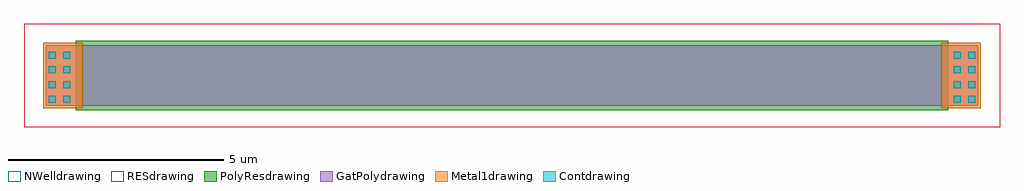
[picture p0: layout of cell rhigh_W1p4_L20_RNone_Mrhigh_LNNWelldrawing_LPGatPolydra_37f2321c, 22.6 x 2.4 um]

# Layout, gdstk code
import gdstk
lib = gdstk.Library(unit=1e-6, precision=1e-09)
def R(c, l, rs):  # rectangles x0, y0, x1, y1
    for r in rs: c.add(gdstk.rectangle(r[:2], r[2:], *l))
GatPolydrawing = (5, 0)
Contdrawing = (6, 0)
Metal1drawing = (8, 0)
RESdrawing = (24, 0)
NWelldrawing = (31, 0)
PolyResdrawing = (128, 0)

rectangle_gdsfactorypcom = lib.new_cell('rectangle_gdsfactorypcomponentspshapesprectangle_S22p6__df2f1203')
R(rectangle_gdsfactorypcom, NWelldrawing, [(-11.3,-1.2,11.3,1.2)])

c_rectangle_gdsfactorypcom = lib.new_cell('rectangle_gdsfactorypcomponentspshapesprectangle_S20_1p_66205ac9')
R(c_rectangle_gdsfactorypcom, GatPolydrawing, [(-10,-0.7,10,0.7)])

c_rectangle_gdsfactorypcom_ = lib.new_cell('rectangle_gdsfactorypcomponentspshapesprectangle_S20p2__f8c3b060')
R(c_rectangle_gdsfactorypcom_, PolyResdrawing, [(-10.1,-0.8,10.1,0.8)])

c_rectangle_gdsfactorypcom__ = lib.new_cell('rectangle_gdsfactorypcomponentspshapesprectangle_S0p8_1_f661b459')
R(c_rectangle_gdsfactorypcom__, GatPolydrawing, [(0,0,0.8,1.4)])

c_rectangle_gdsfactorypcom___ = lib.new_cell('rectangle_gdsfactorypcomponentspshapesprectangle_S0p16__bf15bdcd')
R(c_rectangle_gdsfactorypcom___, Contdrawing, [(0,0,0.16,0.16)])

c_rectangle_gdsfactorypcom____ = lib.new_cell('rectangle_gdsfactorypcomponentspshapesprectangle_S0p92__bda1d071')
R(c_rectangle_gdsfactorypcom____, Metal1drawing, [(0,0,0.92,1.52)])

c_rectangle_gdsfactorypcom_____ = lib.new_cell('rectangle_gdsfactorypcomponentspshapesprectangle_S22p6__67acb44b')
R(c_rectangle_gdsfactorypcom_____, RESdrawing, [(-11.3,-1.2,11.3,1.2)])

rhigh_w1p4_l20_rnone_mrh = lib.new_cell('rhigh_W1p4_L20_RNone_Mrhigh_LNNWelldrawing_LPGatPolydra_37f2321c')
rhigh_w1p4_l20_rnone_mrh.add(gdstk.Reference(rectangle_gdsfactorypcom, (0,0)))
rhigh_w1p4_l20_rnone_mrh.add(gdstk.Reference(c_rectangle_gdsfactorypcom, (0,0)))
rhigh_w1p4_l20_rnone_mrh.add(gdstk.Reference(c_rectangle_gdsfactorypcom_, (0,0)))
rhigh_w1p4_l20_rnone_mrh.add(gdstk.Reference(c_rectangle_gdsfactorypcom__, (-10.8,-0.7)))
rhigh_w1p4_l20_rnone_mrh.add(gdstk.Reference(c_rectangle_gdsfactorypcom__, (10,-0.7)))
rhigh_w1p4_l20_rnone_mrh.add(gdstk.Reference(c_rectangle_gdsfactorypcom___, (-10.73,-0.63)))
rhigh_w1p4_l20_rnone_mrh.add(gdstk.Reference(c_rectangle_gdsfactorypcom___, (10.57,-0.63)))
rhigh_w1p4_l20_rnone_mrh.add(gdstk.Reference(c_rectangle_gdsfactorypcom___, (-10.73,-0.29)))
rhigh_w1p4_l20_rnone_mrh.add(gdstk.Reference(c_rectangle_gdsfactorypcom___, (10.57,-0.29)))
rhigh_w1p4_l20_rnone_mrh.add(gdstk.Reference(c_rectangle_gdsfactorypcom___, (-10.73,0.05)))
rhigh_w1p4_l20_rnone_mrh.add(gdstk.Reference(c_rectangle_gdsfactorypcom___, (10.57,0.05)))
rhigh_w1p4_l20_rnone_mrh.add(gdstk.Reference(c_rectangle_gdsfactorypcom___, (-10.73,0.39)))
rhigh_w1p4_l20_rnone_mrh.add(gdstk.Reference(c_rectangle_gdsfactorypcom___, (10.57,0.39)))
rhigh_w1p4_l20_rnone_mrh.add(gdstk.Reference(c_rectangle_gdsfactorypcom___, (-10.39,-0.63)))
rhigh_w1p4_l20_rnone_mrh.add(gdstk.Reference(c_rectangle_gdsfactorypcom___, (10.23,-0.63)))
rhigh_w1p4_l20_rnone_mrh.add(gdstk.Reference(c_rectangle_gdsfactorypcom___, (-10.39,-0.29)))
rhigh_w1p4_l20_rnone_mrh.add(gdstk.Reference(c_rectangle_gdsfactorypcom___, (10.23,-0.29)))
rhigh_w1p4_l20_rnone_mrh.add(gdstk.Reference(c_rectangle_gdsfactorypcom___, (-10.39,0.05)))
rhigh_w1p4_l20_rnone_mrh.add(gdstk.Reference(c_rectangle_gdsfactorypcom___, (10.23,0.05)))
rhigh_w1p4_l20_rnone_mrh.add(gdstk.Reference(c_rectangle_gdsfactorypcom___, (-10.39,0.39)))
rhigh_w1p4_l20_rnone_mrh.add(gdstk.Reference(c_rectangle_gdsfactorypcom___, (10.23,0.39)))
rhigh_w1p4_l20_rnone_mrh.add(gdstk.Reference(c_rectangle_gdsfactorypcom____, (-10.86,-0.76)))
rhigh_w1p4_l20_rnone_mrh.add(gdstk.Reference(c_rectangle_gdsfactorypcom____, (9.94,-0.76)))
rhigh_w1p4_l20_rnone_mrh.add(gdstk.Reference(c_rectangle_gdsfactorypcom_____, (0,0)))

lib.write_gds('rhigh_W1p4_L20_RNone_Mrhigh_LNNWelldrawing_LPGatPolydra_37f2321c.gds')
